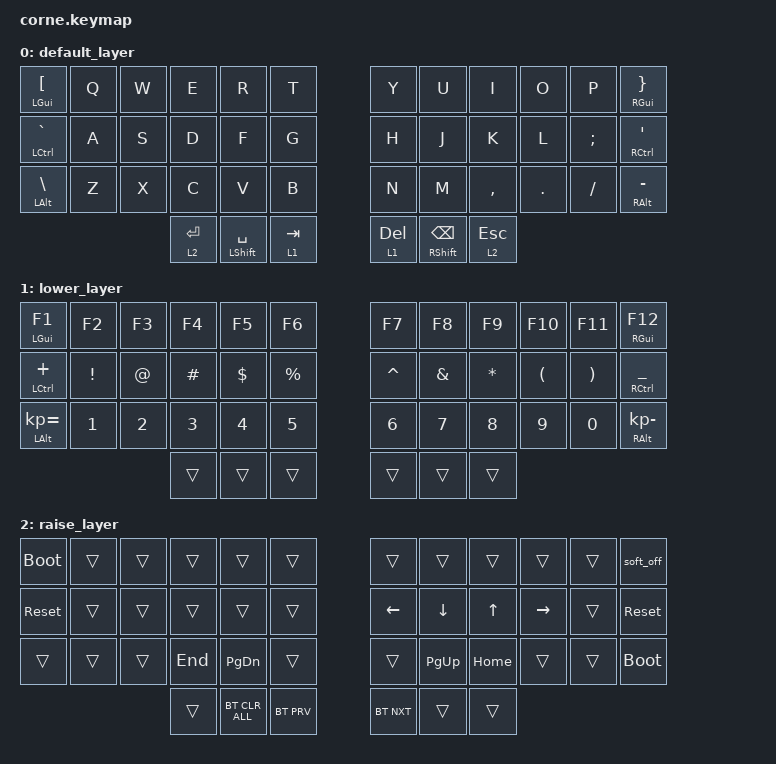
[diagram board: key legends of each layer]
/*
 * Copyright (c) 2020 The ZMK Contributors
 *
 * SPDX-License-Identifier: MIT
 */

#include <behaviors.dtsi>
#include <dt-bindings/zmk/bt.h>
#include <dt-bindings/zmk/keys.h>

/ {
    keymap {
        compatible = "zmk,keymap";

        default_layer {
            // -----------------------------------------------------------------------------------------
            // |  TAB |  Q  |  W  |  E  |  R  |  T  |   |  Y  |  U   |  I  |  O  |  P  | BSPC |
            // | CTRL |  A  |  S  |  D  |  F  |  G  |   |  H  |  J   |  K  |  L  |  ;  |  '   |
            // | SHFT |  Z  |  X  |  C  |  V  |  B  |   |  N  |  M   |  ,  |  .  |  /  | ESC  |
            //                    | GUI | LWR | SPC |   | ENT | RSE  | ALT |

            bindings = <
&mt LEFT_GUI LBKT       &kp Q  &kp W  &kp E        &kp R            &kp T        &kp Y      &kp U           &kp I      &kp O    &kp P     &mt RIGHT_GUI RBRC
&mt LEFT_CONTROL GRAVE  &kp A  &kp S  &kp D        &kp F            &kp G        &kp H      &kp J           &kp K      &kp L    &kp SEMI  &mt RCTRL SQT
&mt LALT BACKSLASH      &kp Z  &kp X  &kp C        &kp V            &kp B        &kp N      &kp M           &kp COMMA  &kp DOT  &kp FSLH  &mt RALT MINUS
                                      &lt 2 ENTER  &mt LSHFT SPACE  &lt 1 TAB    &lt 1 DEL  &mt RSHFT BSPC  &lt 2 ESC
            >;
        };

        lower_layer {
            // -----------------------------------------------------------------------------------------
            // |  TAB |  1  |  2  |  3  |  4  |  5  |   |  6  |  7  |  8  |  9  |  0  | BSPC |
            // | BTCLR| BT1 | BT2 | BT3 | BT4 | BT5 |   | LFT | DWN |  UP | RGT |     |      |
            // | SHFT |     |     |     |     |     |   |     |     |     |     |     |      |
            //                    | GUI |     | SPC |   | ENT |     | ALT |

            bindings = <
&mt LGUI F1            &kp F2    &kp F3  &kp F4    &kp F5    &kp F6         &kp F7     &kp F8    &kp F9     &kp F10   &kp F11                &mt RIGHT_GUI F12
&mt LCTRL PLUS         &kp EXCL  &kp AT  &kp HASH  &kp DLLR  &kp PERCENT    &kp CARET  &kp AMPS  &kp ASTRK  &kp LPAR  &kp RIGHT_PARENTHESIS  &mt RCTRL UNDER
&mt LEFT_ALT KP_EQUAL  &kp N1    &kp N2  &kp N3    &kp N4    &kp N5         &kp N6     &kp N7    &kp N8     &kp N9    &kp N0                 &mt RALT KP_SUBTRACT
                                         &trans    &trans    &trans         &trans     &trans    &trans
            >;
        };

        raise_layer {
            // -----------------------------------------------------------------------------------------
            // |  TAB |  !  |  @  |  #  |  $  |  %  |   |  ^  |  &  |  *  |  (  |  )  | BSPC |
            // | CTRL |     |     |     |     |     |   |  -  |  =  |  [  |  ]  |  \  |  `   |
            // | SHFT |     |     |     |     |     |   |  _  |  +  |  {  |  }  | "|" |  ~   |
            //                    | GUI |     | SPC |   | ENT |     | ALT |

            bindings = <
&bootloader  &trans  &trans  &trans   &trans          &trans        &trans      &trans     &trans    &trans     &trans  &soft_off
&sys_reset   &trans  &trans  &trans   &trans          &trans        &kp LEFT    &kp DOWN   &kp UP    &kp RIGHT  &trans  &sys_reset
&trans       &trans  &trans  &kp END  &kp PG_DN       &trans        &trans      &kp PG_UP  &kp HOME  &trans     &trans  &bootloader
                             &trans   &bt BT_CLR_ALL  &bt BT_PRV    &bt BT_NXT  &trans     &trans
            >;
        };
    };
};
